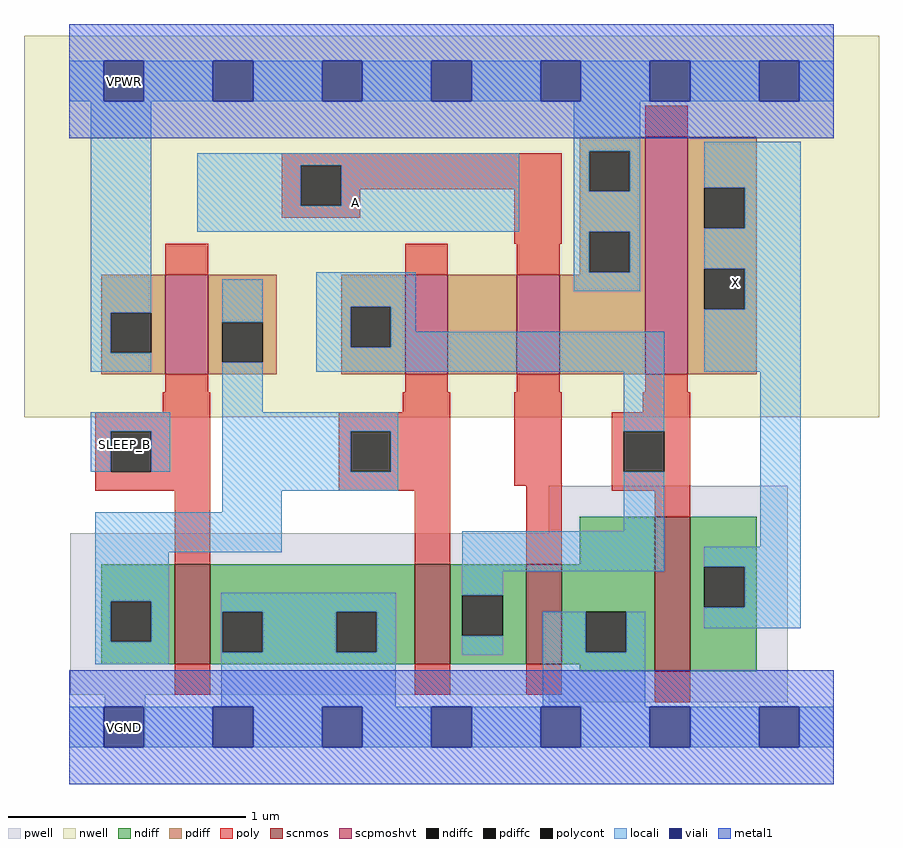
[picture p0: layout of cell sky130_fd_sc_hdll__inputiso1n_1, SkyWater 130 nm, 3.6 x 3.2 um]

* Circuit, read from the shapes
.subckt sky130_fd_sc_hdll__inputiso1n_1 A SLEEP_B VGND VNB VPB VPWR X
XM1 VGND SLEEP_B n1 VNB sky130_fd_pr__nfet_01v8 w=0.42 l=0.15
XM2 n2 n1 VGND VNB sky130_fd_pr__nfet_01v8 w=0.42 l=0.15
XM3 VGND A n2 VNB sky130_fd_pr__nfet_01v8 w=0.42 l=0.15
XM4 X n2 VGND VNB sky130_fd_pr__nfet_01v8 w=0.65 l=0.15
XM5 n1 SLEEP_B VPWR VPB sky130_fd_pr__pfet_01v8_hvt w=0.42 l=0.18
XM6 n3 n1 n2 VPB sky130_fd_pr__pfet_01v8_hvt w=0.42 l=0.18
XM7 VPWR A n3 VPB sky130_fd_pr__pfet_01v8_hvt w=0.42 l=0.18
XM8 X n2 VPWR VPB sky130_fd_pr__pfet_01v8_hvt w=1 l=0.18
.ends

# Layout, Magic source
magic
tech sky130A
magscale 1 2
<< nwell >>
rect -38 261 682 582
<< pwell >>
rect 404 163 605 203
rect 1 27 605 163
rect 30 -17 64 27
rect 404 21 605 27
<< scnmos >>
rect 89 53 119 137
rect 291 53 321 137
rect 385 53 415 137
rect 493 47 523 177
<< scpmoshvt >>
rect 81 297 117 381
rect 283 297 319 381
rect 377 297 413 381
rect 485 297 521 497
<< ndiff >>
rect 430 137 493 177
rect 27 106 89 137
rect 27 72 35 106
rect 69 72 89 106
rect 27 53 89 72
rect 119 97 291 137
rect 119 63 129 97
rect 163 63 225 97
rect 259 63 291 97
rect 119 53 291 63
rect 321 111 385 137
rect 321 77 331 111
rect 365 77 385 111
rect 321 53 385 77
rect 415 97 493 137
rect 415 63 435 97
rect 469 63 493 97
rect 415 53 493 63
rect 430 47 493 53
rect 523 135 579 177
rect 523 101 535 135
rect 569 101 579 135
rect 523 47 579 101
<< pdiff >>
rect 430 485 485 497
rect 430 451 438 485
rect 472 451 485 485
rect 430 417 485 451
rect 430 383 438 417
rect 472 383 485 417
rect 430 381 485 383
rect 27 349 81 381
rect 27 315 35 349
rect 69 315 81 349
rect 27 297 81 315
rect 117 341 175 381
rect 117 307 129 341
rect 163 307 175 341
rect 117 297 175 307
rect 229 354 283 381
rect 229 320 237 354
rect 271 320 283 354
rect 229 297 283 320
rect 319 297 377 381
rect 413 297 485 381
rect 521 454 579 497
rect 521 420 535 454
rect 569 420 579 454
rect 521 386 579 420
rect 521 352 535 386
rect 569 352 579 386
rect 521 297 579 352
<< ndiffc >>
rect 35 72 69 106
rect 129 63 163 97
rect 225 63 259 97
rect 331 77 365 111
rect 435 63 469 97
rect 535 101 569 135
<< pdiffc >>
rect 438 451 472 485
rect 438 383 472 417
rect 35 315 69 349
rect 129 307 163 341
rect 237 320 271 354
rect 535 420 569 454
rect 535 352 569 386
<< poly >>
rect 485 497 521 523
rect 179 473 415 483
rect 179 439 195 473
rect 229 453 415 473
rect 229 439 245 453
rect 179 429 245 439
rect 375 407 415 453
rect 81 381 117 407
rect 283 381 319 407
rect 377 381 413 407
rect 81 282 117 297
rect 283 282 319 297
rect 377 282 413 297
rect 485 282 521 297
rect 79 265 119 282
rect 281 265 321 282
rect 22 249 119 265
rect 22 215 35 249
rect 69 215 119 249
rect 22 199 119 215
rect 227 249 321 265
rect 227 215 237 249
rect 271 215 321 249
rect 227 199 321 215
rect 375 203 415 282
rect 483 265 523 282
rect 89 137 119 199
rect 291 137 321 199
rect 385 137 415 203
rect 457 249 523 265
rect 457 215 467 249
rect 501 215 523 249
rect 457 199 523 215
rect 493 177 523 199
rect 89 27 119 53
rect 291 27 321 53
rect 385 27 415 53
rect 493 21 523 47
<< polycont >>
rect 195 439 229 473
rect 35 215 69 249
rect 237 215 271 249
rect 467 215 501 249
<< locali >>
rect 0 527 29 561
rect 63 527 121 561
rect 155 527 213 561
rect 247 527 305 561
rect 339 527 397 561
rect 431 527 489 561
rect 523 527 581 561
rect 615 527 644 561
rect 18 349 69 527
rect 425 485 481 527
rect 108 473 379 483
rect 108 439 195 473
rect 229 439 379 473
rect 108 417 379 439
rect 425 451 438 485
rect 472 451 481 485
rect 425 417 481 451
rect 425 383 438 417
rect 472 383 481 417
rect 18 315 35 349
rect 18 299 69 315
rect 129 341 163 377
rect 129 265 163 307
rect 208 354 292 383
rect 425 367 481 383
rect 535 454 616 493
rect 569 420 616 454
rect 535 386 616 420
rect 208 320 237 354
rect 271 333 292 354
rect 569 352 616 386
rect 271 320 501 333
rect 208 299 501 320
rect 535 299 616 352
rect 18 249 85 265
rect 18 215 35 249
rect 69 215 85 249
rect 129 249 277 265
rect 129 215 237 249
rect 271 215 277 249
rect 129 199 277 215
rect 467 249 501 299
rect 129 181 179 199
rect 22 147 179 181
rect 467 165 501 215
rect 22 106 84 147
rect 331 131 501 165
rect 582 152 616 299
rect 535 135 616 152
rect 22 72 35 106
rect 69 72 84 106
rect 22 53 84 72
rect 128 97 275 113
rect 128 63 129 97
rect 163 63 225 97
rect 259 63 275 97
rect 128 17 275 63
rect 331 111 365 131
rect 569 101 616 135
rect 331 61 365 77
rect 399 63 435 97
rect 469 63 485 97
rect 535 83 616 101
rect 399 17 485 63
rect 0 -17 29 17
rect 63 -17 121 17
rect 155 -17 213 17
rect 247 -17 305 17
rect 339 -17 397 17
rect 431 -17 489 17
rect 523 -17 581 17
rect 615 -17 644 17
<< viali >>
rect 29 527 63 561
rect 121 527 155 561
rect 213 527 247 561
rect 305 527 339 561
rect 397 527 431 561
rect 489 527 523 561
rect 581 527 615 561
rect 29 -17 63 17
rect 121 -17 155 17
rect 213 -17 247 17
rect 305 -17 339 17
rect 397 -17 431 17
rect 489 -17 523 17
rect 581 -17 615 17
<< metal1 >>
rect 0 561 644 592
rect 0 527 29 561
rect 63 527 121 561
rect 155 527 213 561
rect 247 527 305 561
rect 339 527 397 561
rect 431 527 489 561
rect 523 527 581 561
rect 615 527 644 561
rect 0 496 644 527
rect 0 17 644 48
rect 0 -17 29 17
rect 63 -17 121 17
rect 155 -17 213 17
rect 247 -17 305 17
rect 339 -17 397 17
rect 431 -17 489 17
rect 523 -17 581 17
rect 615 -17 644 17
rect 0 -48 644 -17
<< labels >>
flabel locali s 224 425 258 459 0 FreeSans 400 0 0 0 A
port 1 nsew signal input
flabel locali s 30 221 64 255 0 FreeSans 200 0 0 0 SLEEP_B
port 2 nsew signal input
flabel locali s 544 357 578 391 0 FreeSans 400 0 0 0 X
port 7 nsew signal output
flabel metal1 s 30 -17 64 17 0 FreeSans 200 0 0 0 VGND
port 3 nsew ground bidirectional
flabel metal1 s 30 527 64 561 0 FreeSans 200 0 0 0 VPWR
port 6 nsew power bidirectional
flabel pwell s 30 -17 64 17 0 FreeSans 200 0 0 0 VNB
port 4 nsew ground bidirectional
flabel nwell s 30 527 64 561 0 FreeSans 200 0 0 0 VPB
port 5 nsew power bidirectional
rlabel comment s 0 0 0 0 4 sky130_fd_sc_hdll__lpflow_inputiso1n_1
<< properties >>
string LEFsite unithd
string LEFclass CORE
string FIXED_BBOX 0 0 644 544
string GDS_FILE $PDKPATH/libs.ref/sky130_fd_sc_hdll/gds/sky130_fd_sc_hdll.gds
string LEFsymmetry X Y R90
string GDS_END 154406
string GDS_START 149194
string LEFproperties maskLayoutSubType "abstract" prCellType "standard" originalViewName "layout"
<< end >>
